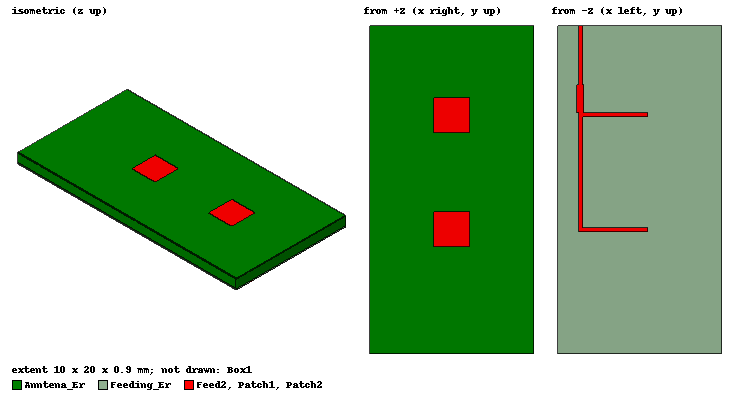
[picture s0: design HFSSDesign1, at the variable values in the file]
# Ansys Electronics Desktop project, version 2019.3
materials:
  vacuum: permittivity=1
  Rogers RO4003 (tm): permittivity=3.55 dielectric_loss_tangent=0.0027
  Isola TerraGreen (R): permittivity=3.44 dielectric_loss_tangent=0.0039
  air: permittivity=1.0006 permeability=1.0000004

design HFSSDesign1 (HFSS, DrivenModal, model units mm)
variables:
  h_S_Anntena = 0.8mm
  L_S_Anntena = 10mm
  W_S_Anntena = 20mm
  W_Patch = 2.133mm
  L_Anntena = 2.133mm
  L_Patch = 2.15mm
  Spacing = 7mm
  h_S_Feeding = 0.1mm
  W_Slot = 2.091mm
  L_Slot = 0.15mm
  SlotX = L_Patch/2-L_Slot/2
  SlotY = W_Patch/2-W_Slot/2+0.021mm
  L = 0mm
  L_S_Feed = 7mm
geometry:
  Anntena_Er [Isola TerraGreen (R)] = box(corner=(-L_S_Anntena/2, -W_S_Anntena/2, 0mm), size=(L_S_Anntena, W_S_Anntena, h_S_Anntena))
  Patch1 = rectangle(corner=(-L_Patch/2, Spacing/2, h_S_Anntena), x_size=L_Patch, y_size=W_Patch)
  Ground = rectangle(corner=(-L_S_Anntena/2, -W_S_Anntena/2, 0mm), x_size=L_S_Anntena, y_size=W_S_Anntena)
  Feeding_Er [Isola TerraGreen (R)] = box(corner=(-L_S_Anntena/2, -W_S_Anntena/2, 0mm), size=(L_S_Anntena, W_S_Anntena, -h_S_Feeding))
  Slot = rectangle(corner=(-L_Patch/2+SlotX, Spacing/2+SlotY/2, 0mm), x_size=L_Slot, y_size=W_Slot)
  Ground.subtract(Slot)
  Feed1 = rectangle(corner=(-0.5mm, Spacing/2+W_Patch/2-0.1175mm, -h_S_Feeding), x_size=L_S_Feed/2+0.5mm, y_size=0.235mm)
  Box1 [air] = box(corner=(-6mm, -15mm, -2.5mm), size=(12mm, 30mm, 5mm))
  Feed2 = rectangle(corner=(-0.5mm, -Spacing/2+W_Patch/2-0.1175mm, -h_S_Feeding), x_size=L_S_Feed/2+0.5mm, y_size=0.235mm)
  Patch2 = rectangle(corner=(-L_Patch/2, -Spacing/2, h_S_Anntena), x_size=L_Patch, y_size=W_Patch)
  Slot1 = rectangle(corner=(-L_Patch/2+SlotX, -Spacing/2+SlotY/2, 0mm), x_size=L_Slot, y_size=W_Slot)
  Ground.subtract(Slot1)
  Feed_Cross = rectangle(corner=(L_S_Feed/2, -Spacing/2+W_Patch/2-0.1175mm, -h_S_Feeding), x_size=0.235mm, y_size=-(-Spacing/2+W_Patch/2-0.1175mm)+W_S_Anntena/2)
  Rectangle1 = rectangle(corner=(L_S_Feed/2, W_S_Anntena/2, 0mm), z_size=-0.1mm, x_size=0.235mm)
  Feed2.unite(Feed1, Feed_Cross)
  LamdaBy4 = rectangle(corner=(L_S_Feed/2-0.391mm +0.313mm, Spacing/2+W_Patch/2-0.1175mm+0.235mm, -h_S_Feeding), x_size=0.391mm, y_size=1.7mm)
  Feed2.unite(LamdaBy4)
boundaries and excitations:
  PerfE1: Perfect E Objects=[Ground, Patch1]
  Rad1: Radiation Objects=Box1
  PerfE2: Perfect E Objects=Feed2
  PerfE3: Perfect E Objects=Patch2
  1: Lumped Port Objects=Rectangle1 Modes{Mode1{IntLine{Rectangle1.edge(z opposite corner) at 0.511 along -> Rectangle1.edge(z at corner) at 0.489 along} CharImp=Zpi RenormImp=50ohm}} Impedance=50ohm
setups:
  Setup1: HfssDriven Frequency=26GHz MaxDeltaS=0.02 MaximumPasses=6 MinimumPasses=1 MinimumConvergedPasses=1 PercentRefinement=30 BasisOrder=1 PortAccuracy=2
    sweep Sweep: 20GHz to 32GHz, 100 points; Type=Interpolating SaveFields InterpTolerance=0.5 InterpMaxSolns=250 InterpUsePortImped=false PassivityErrorTolerance=0.0001
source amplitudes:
  1:1: 1W 0deg
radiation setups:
  Infinite Sphere1: Infinite Sphere Theta=0deg..180deg step 2deg Phi=-180deg..180deg step 2deg
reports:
  S Parameter Plot 1: dB(S(1,1)) vs Freq on Setup1 : Sweep; markers m1 at 24.484848GHz, m2 at 29.69697GHz, m3 at 26.666667GHz
  Gain Plot 1: GainTotal vs Phi, Theta on Setup1 : LastAdaptive, Infinite Sphere1 [Freq=26GHz]
  S Parameter Plot 2: dB(S(1,1)) vs Freq on Setup1 : Sweep [L_S_Anntena=all]; markers m1 at 24.363636GHz, m2 at 29.575758GHz, m3 at 25.212121GHz
  Gain Plot 2: GainTotal vs Phi, Theta on Setup1 : LastAdaptive, Infinite Sphere1 [Freq=26GHz]
  Gain Plot 4: dB(GainTotal) vs Phi, Theta on Setup1 : LastAdaptive, Infinite Sphere1 [Freq=26GHz]
  S Parameter Plot 3: dB(S(1,1)) vs Freq on Setup1 : Sweep [Spacing=all]; markers m1 at 27.515152GHz
  Gain Plot 5: GainTotal vs Phi, Theta on Setup1 : LastAdaptive, Infinite Sphere1 [Freq=26GHz Spacing=1mm]
  Gain Plot 6: GainTotal vs Phi, Theta on Setup1 : LastAdaptive, Infinite Sphere1 [Freq=26GHz Spacing=7mm]
  Gain Plot 7: GainTotal vs Phi, Theta on Setup1 : LastAdaptive, Infinite Sphere1 [Freq=26GHz Spacing=2mm]
  Gain Plot 8: GainTotal vs Phi, Theta on Setup1 : LastAdaptive, Infinite Sphere1 [Freq=26GHz Spacing=12mm]
  S Parameter Plot 4: dB(S(1,1)) vs Freq on Setup1 : Sweep
  S Parameter Plot 5: dB(S(1,1)) vs Freq on Setup1 : Sweep [L_Patch=all Spacing=all]
  S Parameter Plot 6: dB(S(1,1)) vs Freq on Setup1 : Sweep
  Antenna Params Plot 1: RadiationEfficiency vs Freq on Setup1 : LastAdaptive [L_Patch=all Spacing=all]
  S Parameter Plot 7: dB(S(1,1)) vs Freq on Setup1 : Sweep [L_Patch=all Spacing=all]; markers m1 at 29.818182GHz, m2 at 24.363636GHz
  Axial Ratio Plot 1: dB(AxialRatioValue) vs Theta on Setup1 : LastAdaptive, Infinite Sphere1 [Theta=0deg Phi=all Freq=26GHz L_Patch=all Spacing=all]
  Polarization Ratio Plot 1: dB(PolarizationRatioL3X) vs Phi, Theta on Setup1 : LastAdaptive, Infinite Sphere1 [Phi=-180deg,-178deg,-176deg,-174deg,-172deg,-170deg,-168deg,-166deg,-164deg,-162deg,-160deg,-158deg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 Freq=26GHz]
  Polarization Ratio Plot 2: mag(PolarizationRatioL3Y) vs Phi, Theta on Setup1 : LastAdaptive, Infinite Sphere1 [Phi=-180deg,-178deg,-176deg,-174deg,-172deg,-170deg,-168deg,-166deg,-164deg,-162deg,-160deg,-158deg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 Freq=26GHz]
  Polarization Ratio Plot 3: mag(PolarizationRatioCircularLHCP) vs Phi, Theta on Setup1 : LastAdaptive, Infinite Sphere1 [Phi=-180deg,-178deg,-176deg,-174deg,-172deg,-170deg,-168deg,-166deg,-164deg,-162deg,-160deg,-158deg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 Freq=26GHz]
  Polarization Ratio Plot 4: mag(PolarizationRatioCircularRHCP) vs Phi, Theta on Setup1 : LastAdaptive, Infinite Sphere1 [Phi=-180deg,-178deg,-176deg,-174deg,-172deg,-170deg,-168deg,-166deg,-164deg,-162deg,-160deg,-158deg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 Freq=26GHz]
